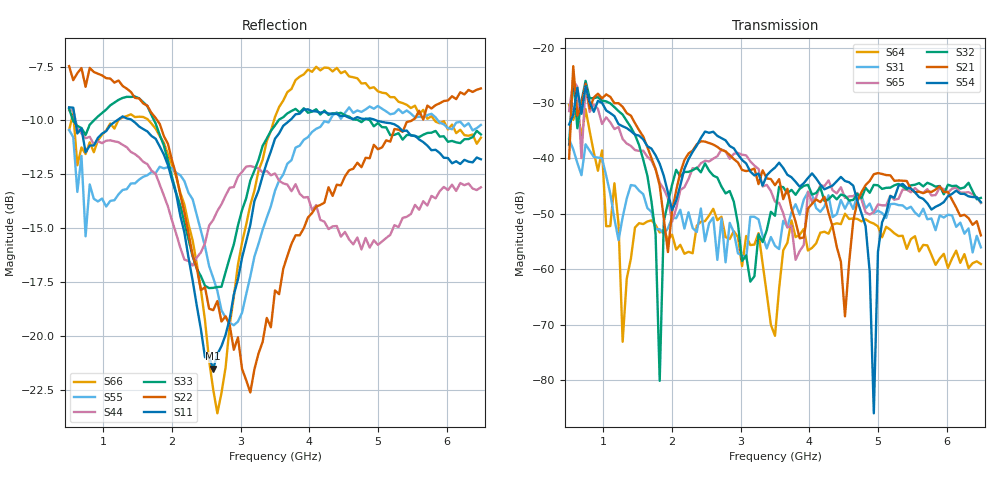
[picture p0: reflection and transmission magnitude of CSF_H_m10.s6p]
!Keysight Technologies,M9804A,MY58100912,A.14.10.03
!Date: Thursday, April 27, 2023 10:28:33
!Correction: S11(C  6-Port  )
!S12(C  6-Port  )
!S13(C  6-Port  )
!S14(C  6-Port  )
!S15(C  6-Port  )
!S16(C  6-Port  )
!S21(C  6-Port  )
!S22(C  6-Port  )
!S23(C  6-Port  )
!S24(C  6-Port  )
!S25(C  6-Port  )
!S26(C  6-Port  )
!S31(C  6-Port  )
!S32(C  6-Port  )
!S33(C  6-Port  )
!S34(C  6-Port  )
!S35(C  6-Port  )
!S36(C  6-Port  )
!S41(C  6-Port  )
!S42(C  6-Port  )
!S43(C  6-Port  )
!S44(C  6-Port  )
!S45(C  6-Port  )
!S46(C  6-Port  )
!S51(C  6-Port  )
!S52(C  6-Port  )
!S53(C  6-Port  )
!S54(C  6-Port  )
!S55(C  6-Port  )
!S56(C  6-Port  )
!S61(C  6-Port  )
!S62(C  6-Port  )
!S63(C  6-Port  )
!S64(C  6-Port  )
!S65(C  6-Port  )
!S66(C  6-Port  )
!S6P File: Measurement: :
# Hz S  RI  R 50
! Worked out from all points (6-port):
!   101 points, 500 MHz to 6.5 GHz, reference 50 ohm
!   strongest paths, dB at 500 MHz, 2 GHz, 3.5 GHz, 5 GHz, 6.5 GHz:
!     S54: -33.9, -49.3, -41.7, -56.9, -47.9
!     S21: -40.0, -49.6, -44.8, -42.6, -53.9
!     S32: -37.5, -44.8, -50.3, -44.8, -47.1
!     S65: -31.5, -51.4, -47.8, -48.3, -48.1
!     S31: -36.5, -50.7, -55.8, -49.4, -56.1
!     S64: -30.3, -53.7, -72.0, -52.3, -59.1
!   lowest |S11| = -21.5 dB at 2.6 GHz (marker M1), VSWR 1.18, Z = 42.5 + j2.16 ohm
!   |S11| at or under -10 dB: 589.5 MHz to 1.197 GHz (607.5 MHz wide, 68 % of centre); 1.42 GHz to 3.715 GHz (2.295 GHz wide, 89.4 % of centre); 4.975 GHz to end of sweep
